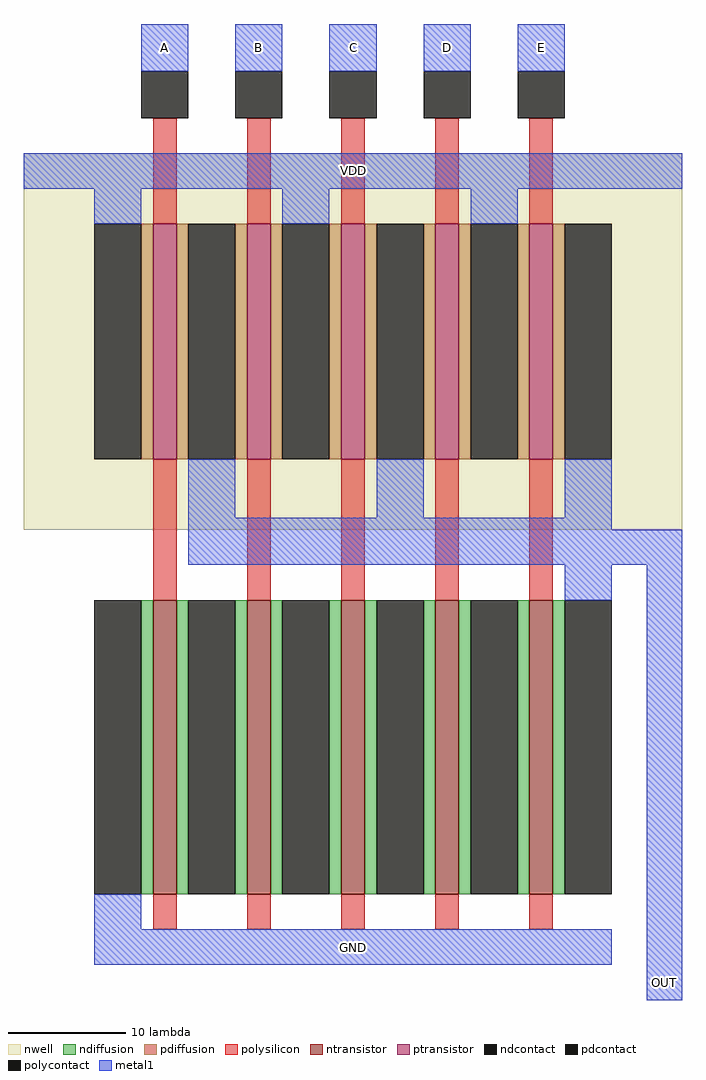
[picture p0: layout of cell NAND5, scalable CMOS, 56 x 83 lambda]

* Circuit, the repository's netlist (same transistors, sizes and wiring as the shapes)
* SPICE3 file created from NAND5.ext - technology: scmos

.option scale=0.09u

M1000 OUT C VDD w_n6_31# cmosp w=20 l=2
+  ad=340 pd=154 as=340 ps=154
M1001 a_31_0# D a_23_0# Gnd cmosn w=25 l=2
+  ad=150 pd=62 as=150 ps=62
M1002 VDD D OUT w_n6_31# cmosp w=20 l=2
+  ad=0 pd=0 as=0 ps=0
M1003 a_15_0# B a_7_0# Gnd cmosn w=25 l=2
+  ad=150 pd=62 as=150 ps=62
M1004 OUT A VDD w_n6_31# cmosp w=20 l=2
+  ad=0 pd=0 as=0 ps=0
M1005 VDD B OUT w_n6_31# cmosp w=20 l=2
+  ad=0 pd=0 as=0 ps=0
M1006 a_7_0# A GND Gnd cmosn w=25 l=2
+  ad=0 pd=0 as=125 ps=60
M1007 OUT E a_31_0# Gnd cmosn w=25 l=2
+  ad=125 pd=60 as=0 ps=0
M1008 a_23_0# C a_15_0# Gnd cmosn w=25 l=2
+  ad=0 pd=0 as=0 ps=0
M1009 OUT E VDD w_n6_31# cmosp w=20 l=2
+  ad=0 pd=0 as=0 ps=0

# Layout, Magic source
magic
tech scmos
<< nwell >>
rect -6 31 50 63
<< ntransistor >>
rect 5 0 7 25
rect 13 0 15 25
rect 21 0 23 25
rect 29 0 31 25
rect 37 0 39 25
<< ptransistor >>
rect 5 37 7 57
rect 13 37 15 57
rect 21 37 23 57
rect 29 37 31 57
rect 37 37 39 57
<< ndiffusion >>
rect 4 0 5 25
rect 7 0 8 25
rect 12 0 13 25
rect 15 0 16 25
rect 20 0 21 25
rect 23 0 24 25
rect 28 0 29 25
rect 31 0 32 25
rect 36 0 37 25
rect 39 0 40 25
<< pdiffusion >>
rect 4 37 5 57
rect 7 37 8 57
rect 12 37 13 57
rect 15 37 16 57
rect 20 37 21 57
rect 23 37 24 57
rect 28 37 29 57
rect 31 37 32 57
rect 36 37 37 57
rect 39 37 40 57
<< ndcontact >>
rect 0 0 4 25
rect 8 0 12 25
rect 16 0 20 25
rect 24 0 28 25
rect 32 0 36 25
rect 40 0 44 25
<< pdcontact >>
rect 0 37 4 57
rect 8 37 12 57
rect 16 37 20 57
rect 24 37 28 57
rect 32 37 36 57
rect 40 37 44 57
<< polysilicon >>
rect 5 57 7 66
rect 13 57 15 66
rect 21 57 23 66
rect 29 57 31 66
rect 37 57 39 66
rect 5 25 7 37
rect 13 25 15 37
rect 21 25 23 37
rect 29 25 31 37
rect 37 25 39 37
rect 5 -3 7 0
rect 13 -3 15 0
rect 21 -3 23 0
rect 29 -3 31 0
rect 37 -3 39 0
<< polycontact >>
rect 4 66 8 70
rect 12 66 16 70
rect 20 66 24 70
rect 28 66 32 70
rect 36 66 40 70
<< metal1 >>
rect 4 70 8 74
rect 12 70 16 74
rect 20 70 24 74
rect 28 70 32 74
rect 36 70 40 74
rect -6 60 50 63
rect 0 57 4 60
rect 16 57 20 60
rect 32 57 36 60
rect 8 32 12 37
rect 24 32 28 37
rect 40 32 44 37
rect 8 31 44 32
rect 8 28 50 31
rect 40 25 44 28
rect 0 -3 4 0
rect 0 -6 44 -3
rect 47 -9 50 28
<< labels >>
rlabel metal1 0 -6 44 -3 1 GND
rlabel metal1 -6 60 50 63 5 VDD
rlabel metal1 4 70 8 74 5 A
rlabel metal1 12 70 16 74 5 B
rlabel metal1 20 70 24 74 5 C
rlabel metal1 28 70 32 74 5 D
rlabel metal1 36 70 40 74 5 E
rlabel metal1 47 -9 50 -6 8 OUT
<< end >>
